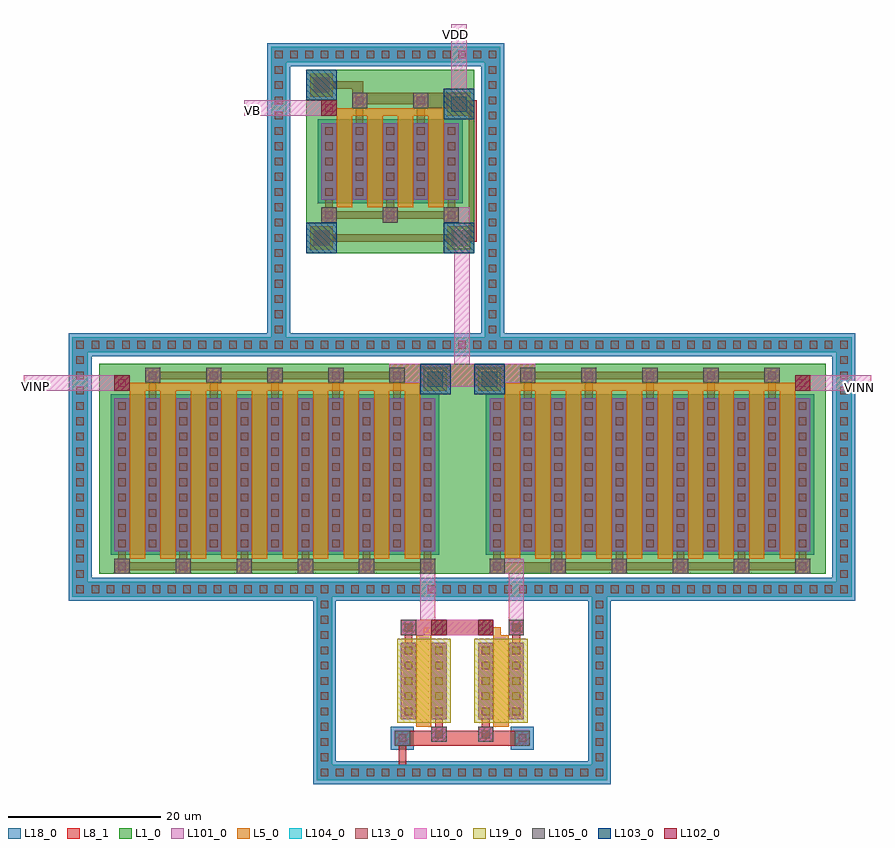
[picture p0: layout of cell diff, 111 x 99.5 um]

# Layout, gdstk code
from math import pi, radians
import gdstk
lib = gdstk.Library(unit=1e-6, precision=1e-07)
def R(c, l, rs):  # rectangles x0, y0, x1, y1
    for r in rs: c.add(gdstk.rectangle(r[:2], r[2:], *l))
def P(c, l, *ps):  # polygons
    for p in ps: c.add(gdstk.Polygon(p, *l))
L1_0 = (1, 0)
L5_0 = (5, 0)
L8_1 = (8, 1)
L10_0 = (10, 0)
L13_0 = (13, 0)
L18_0 = (18, 0)
L19_0 = (19, 0)
L101_0 = (101, 0)
L102_0 = (102, 0)
L103_0 = (103, 0)
L104_0 = (104, 0)
L105_0 = (105, 0)

dcont = lib.new_cell('dcont')
R(dcont, L8_1, [(-1,-1,1,1)])
R(dcont, L13_0, [(-0.5,-0.5,0.5,0.5)])
R(dcont, L101_0, [(-1,-1,1,1)])

via = lib.new_cell('Via')
R(via, L8_1, [(-1,-1,1,1)])
R(via, L10_0, [(-1,-1,1,1)])
R(via, L13_0, [(-0.5,-0.5,0.5,0.5)])
R(via, L105_0, [(-1,-1,1,1)])

dcont1 = lib.new_cell('dcont1')
R(dcont1, L8_1, [(-1,-1,1,1)])
R(dcont1, L13_0, [(-0.5,-0.5,0.5,0.5)])
R(dcont1, L101_0, [(-1,-1,1,1)])

nsubcont = lib.new_cell('nsubcont')
R(nsubcont, L1_0, [(-2,-2,2,2)])
R(nsubcont, L19_0, [(-1.5,-1.5,1.5,1.5)])
R(nsubcont, L103_0, [(-2,-2,2,2)])
nsubcont.add(gdstk.Reference(dcont1, (0,0)))

pch_2 = lib.new_cell('Pch$2')
R(pch_2, L1_0, [(-2,-1.5,20,16)])
R(pch_2, L5_0, [(0,0,2,2)])
R(pch_2, L8_1, [(0,0,2,2)])
P(pch_2, L8_1, [(4.5,-0.5),(4.5,3),(4,3),(4,13),(6,13),(6,3),(5.5,3),(5.5,0.5),(12.5,0.5),(12.5,3),(12,3),(12,13),(14,13),(14,3),(13.5,3),(13.5,-0.5)],
  [(0,3),(0,13),(0.5,13),(0.5,15.5),(17.5,15.5),(17.5,13),(18,13),(18,3),(16,3),(16,13),(16.5,13),(16.5,14.5),(9.5,14.5),(9.5,13),(10,13),(10,3),(8,3),(8,13),(8.5,13),(8.5,14.5),(1.5,14.5),(1.5,13),(2,13),(2,3)])
R(pch_2, L13_0, [(0.5,0.5,1.5,1.5)])
R(pch_2, L18_0, [(-0.5,2.5,18.5,13.5)])
R(pch_2, L102_0, [(0,0,2,2)])
pch_2.add(gdstk.FlexPath([(3,3),(3,13)], 2, ends="extended", simple_path=True, layer=5, datatype=0))  # L5_0
pch_2.add(gdstk.FlexPath([(7,3),(7,13)], 2, ends="extended", simple_path=True, layer=5, datatype=0))  # L5_0
pch_2.add(gdstk.FlexPath([(11,3),(11,13)], 2, ends="extended", simple_path=True, layer=5, datatype=0))  # L5_0
pch_2.add(gdstk.FlexPath([(15,3),(15,13)], 2, ends="extended", simple_path=True, layer=5, datatype=0))  # L5_0
pch_2.add(gdstk.FlexPath([(1,1.5),(2.5,1.5),(2.5,2)], 1, ends="flush", simple_path=True, layer=5, datatype=0))  # L5_0
pch_2.add(gdstk.FlexPath([(2,1.5),(8,1.5)], 1, ends="flush", simple_path=True, layer=5, datatype=0))  # L5_0
pch_2.add(gdstk.FlexPath([(6,1.5),(12,1.5)], 1, ends="flush", simple_path=True, layer=5, datatype=0))  # L5_0
pch_2.add(gdstk.FlexPath([(10,1.5),(16,1.5)], 1, ends="flush", simple_path=True, layer=5, datatype=0))  # L5_0
pch_2.add(gdstk.Reference(dcont, (1,4)))
pch_2.add(gdstk.Reference(dcont, (1,6)))
pch_2.add(gdstk.Reference(dcont, (1,8)))
pch_2.add(gdstk.Reference(dcont, (1,10)))
pch_2.add(gdstk.Reference(dcont, (1,12)))
pch_2.add(gdstk.Reference(dcont, (5,4)))
pch_2.add(gdstk.Reference(dcont, (5,6)))
pch_2.add(gdstk.Reference(dcont, (5,8)))
pch_2.add(gdstk.Reference(dcont, (5,10)))
pch_2.add(gdstk.Reference(dcont, (5,12)))
pch_2.add(gdstk.Reference(dcont, (9,4)))
pch_2.add(gdstk.Reference(dcont, (9,6)))
pch_2.add(gdstk.Reference(dcont, (9,8)))
pch_2.add(gdstk.Reference(dcont, (9,10)))
pch_2.add(gdstk.Reference(dcont, (9,12)))
pch_2.add(gdstk.Reference(dcont, (13,4)))
pch_2.add(gdstk.Reference(dcont, (13,6)))
pch_2.add(gdstk.Reference(dcont, (13,8)))
pch_2.add(gdstk.Reference(dcont, (13,10)))
pch_2.add(gdstk.Reference(dcont, (13,12)))
pch_2.add(gdstk.Reference(dcont, (17,4)))
pch_2.add(gdstk.Reference(dcont, (17,6)))
pch_2.add(gdstk.Reference(dcont, (17,8)))
pch_2.add(gdstk.Reference(dcont, (17,10)))
pch_2.add(gdstk.Reference(dcont, (17,12)))
pch_2.add(gdstk.Reference(via, (1,1)))
pch_2.add(gdstk.Reference(via, (1,15)))
pch_2.add(gdstk.Reference(via, (5,0)))
pch_2.add(gdstk.Reference(via, (9,15)))
pch_2.add(gdstk.Reference(via, (13,0)))
pch_2.add(gdstk.Reference(via, (17,15)))
pch_2.add(gdstk.Reference(nsubcont, (18,0.5)))
pch_2.add(gdstk.Reference(via, (18,0.5)))

pch_6 = lib.new_cell('Pch$6')
R(pch_6, L1_0, [(-2,-1.5,44,26)])
R(pch_6, L5_0, [(0,0,2,2)])
R(pch_6, L8_1, [(0,0,2,2)])
P(pch_6, L8_1, [(4.5,-0.5),(4.5,3),(4,3),(4,23),(6,23),(6,3),(5.5,3),(5.5,0.5),(12.5,0.5),(12.5,3),(12,3),(12,23),(14,23),(14,3),(13.5,3),(13.5,0.5),(20.5,0.5),(20.5,3),(20,3),(20,23),(22,23),(22,3),(21.5,3),(21.5,0.5),(28.5,0.5),(28.5,3),(28,3),(28,23),(30,23),(30,3),(29.5,3),(29.5,0.5),(36.5,0.5),(36.5,3),(36,3),(36,23),(38,23),(38,3),(37.5,3),(37.5,-0.5)],
  [(0,3),(0,23),(0.5,23),(0.5,25.5),(41.5,25.5),(41.5,23),(42,23),(42,3),(40,3),(40,23),(40.5,23),(40.5,24.5),(33.5,24.5),(33.5,23),(34,23),(34,3),(32,3),(32,23),(32.5,23),(32.5,24.5),(25.5,24.5),(25.5,23),(26,23),(26,3),(24,3),(24,23),(24.5,23),(24.5,24.5),(17.5,24.5),(17.5,23),(18,23),(18,3),(16,3),(16,23),(16.5,23),(16.5,24.5),(9.5,24.5),(9.5,23),(10,23),(10,3),(8,3),(8,23),(8.5,23),(8.5,24.5),(1.5,24.5),(1.5,23),(2,23),(2,3)])
R(pch_6, L13_0, [(0.5,0.5,1.5,1.5)])
R(pch_6, L18_0, [(-0.5,2.5,42.5,23.5)])
R(pch_6, L102_0, [(0,0,2,2)])
pch_6.add(gdstk.FlexPath([(3,3),(3,23)], 2, ends="extended", simple_path=True, layer=5, datatype=0))  # L5_0
pch_6.add(gdstk.FlexPath([(7,3),(7,23)], 2, ends="extended", simple_path=True, layer=5, datatype=0))  # L5_0
pch_6.add(gdstk.FlexPath([(11,3),(11,23)], 2, ends="extended", simple_path=True, layer=5, datatype=0))  # L5_0
pch_6.add(gdstk.FlexPath([(15,3),(15,23)], 2, ends="extended", simple_path=True, layer=5, datatype=0))  # L5_0
pch_6.add(gdstk.FlexPath([(19,3),(19,23)], 2, ends="extended", simple_path=True, layer=5, datatype=0))  # L5_0
pch_6.add(gdstk.FlexPath([(23,3),(23,23)], 2, ends="extended", simple_path=True, layer=5, datatype=0))  # L5_0
pch_6.add(gdstk.FlexPath([(27,3),(27,23)], 2, ends="extended", simple_path=True, layer=5, datatype=0))  # L5_0
pch_6.add(gdstk.FlexPath([(31,3),(31,23)], 2, ends="extended", simple_path=True, layer=5, datatype=0))  # L5_0
pch_6.add(gdstk.FlexPath([(35,3),(35,23)], 2, ends="extended", simple_path=True, layer=5, datatype=0))  # L5_0
pch_6.add(gdstk.FlexPath([(39,3),(39,23)], 2, ends="extended", simple_path=True, layer=5, datatype=0))  # L5_0
pch_6.add(gdstk.FlexPath([(1,1.5),(2.5,1.5),(2.5,2)], 1, ends="flush", simple_path=True, layer=5, datatype=0))  # L5_0
pch_6.add(gdstk.FlexPath([(2,1.5),(8,1.5)], 1, ends="flush", simple_path=True, layer=5, datatype=0))  # L5_0
pch_6.add(gdstk.FlexPath([(6,1.5),(12,1.5)], 1, ends="flush", simple_path=True, layer=5, datatype=0))  # L5_0
pch_6.add(gdstk.FlexPath([(10,1.5),(16,1.5)], 1, ends="flush", simple_path=True, layer=5, datatype=0))  # L5_0
pch_6.add(gdstk.FlexPath([(14,1.5),(20,1.5)], 1, ends="flush", simple_path=True, layer=5, datatype=0))  # L5_0
pch_6.add(gdstk.FlexPath([(18,1.5),(24,1.5)], 1, ends="flush", simple_path=True, layer=5, datatype=0))  # L5_0
pch_6.add(gdstk.FlexPath([(22,1.5),(28,1.5)], 1, ends="flush", simple_path=True, layer=5, datatype=0))  # L5_0
pch_6.add(gdstk.FlexPath([(26,1.5),(32,1.5)], 1, ends="flush", simple_path=True, layer=5, datatype=0))  # L5_0
pch_6.add(gdstk.FlexPath([(30,1.5),(36,1.5)], 1, ends="flush", simple_path=True, layer=5, datatype=0))  # L5_0
pch_6.add(gdstk.FlexPath([(34,1.5),(40,1.5)], 1, ends="flush", simple_path=True, layer=5, datatype=0))  # L5_0
pch_6.add(gdstk.Reference(dcont, (1,12)))
pch_6.add(gdstk.Reference(dcont, (5,12)))
pch_6.add(gdstk.Reference(dcont, (9,12)))
pch_6.add(gdstk.Reference(dcont, (13,12)))
pch_6.add(gdstk.Reference(dcont, (17,12)))
pch_6.add(gdstk.Reference(dcont, (21,12)))
pch_6.add(gdstk.Reference(dcont, (25,12)))
pch_6.add(gdstk.Reference(dcont, (29,12)))
pch_6.add(gdstk.Reference(dcont, (33,12)))
pch_6.add(gdstk.Reference(dcont, (37,12)))
pch_6.add(gdstk.Reference(dcont, (41,12)))
pch_6.add(gdstk.Reference(dcont, (25,22)))
pch_6.add(gdstk.Reference(dcont, (25,14)))
pch_6.add(gdstk.Reference(dcont, (29,14)))
pch_6.add(gdstk.Reference(dcont, (29,16)))
pch_6.add(gdstk.Reference(dcont, (29,18)))
pch_6.add(gdstk.Reference(dcont, (29,20)))
pch_6.add(gdstk.Reference(dcont, (29,22)))
pch_6.add(gdstk.Reference(dcont, (25,16)))
pch_6.add(gdstk.Reference(dcont, (33,14)))
pch_6.add(gdstk.Reference(dcont, (33,16)))
pch_6.add(gdstk.Reference(dcont, (33,18)))
pch_6.add(gdstk.Reference(dcont, (33,20)))
pch_6.add(gdstk.Reference(dcont, (33,22)))
pch_6.add(gdstk.Reference(dcont, (25,18)))
pch_6.add(gdstk.Reference(dcont, (37,14)))
pch_6.add(gdstk.Reference(dcont, (37,16)))
pch_6.add(gdstk.Reference(dcont, (37,18)))
pch_6.add(gdstk.Reference(dcont, (37,20)))
pch_6.add(gdstk.Reference(dcont, (37,22)))
pch_6.add(gdstk.Reference(dcont, (25,20)))
pch_6.add(gdstk.Reference(dcont, (41,14)))
pch_6.add(gdstk.Reference(dcont, (41,16)))
pch_6.add(gdstk.Reference(dcont, (41,18)))
pch_6.add(gdstk.Reference(dcont, (41,20)))
pch_6.add(gdstk.Reference(dcont, (41,22)))
pch_6.add(gdstk.Reference(via, (25,25)))
pch_6.add(gdstk.Reference(via, (33,25)))
pch_6.add(gdstk.Reference(via, (41,25)))
pch_6.add(gdstk.Reference(dcont, (5,18)))
pch_6.add(gdstk.Reference(dcont, (5,20)))
pch_6.add(gdstk.Reference(dcont, (5,22)))
pch_6.add(gdstk.Reference(dcont, (1,16)))
pch_6.add(gdstk.Reference(dcont, (9,14)))
pch_6.add(gdstk.Reference(dcont, (9,16)))
pch_6.add(gdstk.Reference(dcont, (9,18)))
pch_6.add(gdstk.Reference(dcont, (9,20)))
pch_6.add(gdstk.Reference(dcont, (9,22)))
pch_6.add(gdstk.Reference(dcont, (1,18)))
pch_6.add(gdstk.Reference(dcont, (13,14)))
pch_6.add(gdstk.Reference(dcont, (13,16)))
pch_6.add(gdstk.Reference(dcont, (13,18)))
pch_6.add(gdstk.Reference(dcont, (13,20)))
pch_6.add(gdstk.Reference(dcont, (13,22)))
pch_6.add(gdstk.Reference(dcont, (1,20)))
pch_6.add(gdstk.Reference(dcont, (17,14)))
pch_6.add(gdstk.Reference(dcont, (17,16)))
pch_6.add(gdstk.Reference(dcont, (17,18)))
pch_6.add(gdstk.Reference(dcont, (17,20)))
pch_6.add(gdstk.Reference(dcont, (17,22)))
pch_6.add(gdstk.Reference(dcont, (1,22)))
pch_6.add(gdstk.Reference(dcont, (21,14)))
pch_6.add(gdstk.Reference(dcont, (21,16)))
pch_6.add(gdstk.Reference(dcont, (21,18)))
pch_6.add(gdstk.Reference(dcont, (21,20)))
pch_6.add(gdstk.Reference(dcont, (21,22)))
pch_6.add(gdstk.Reference(via, (1,25)))
pch_6.add(gdstk.Reference(via, (9,25)))
pch_6.add(gdstk.Reference(via, (17,25)))
pch_6.add(gdstk.Reference(dcont, (1,14)))
pch_6.add(gdstk.Reference(dcont, (5,14)))
pch_6.add(gdstk.Reference(dcont, (5,16)))
pch_6.add(gdstk.Reference(dcont, (1,4)))
pch_6.add(gdstk.Reference(dcont, (1,6)))
pch_6.add(gdstk.Reference(dcont, (21,4)))
pch_6.add(gdstk.Reference(dcont, (21,6)))
pch_6.add(gdstk.Reference(dcont, (21,8)))
pch_6.add(gdstk.Reference(dcont, (21,10)))
pch_6.add(gdstk.Reference(dcont, (13,4)))
pch_6.add(gdstk.Reference(dcont, (13,6)))
pch_6.add(gdstk.Reference(dcont, (13,8)))
pch_6.add(gdstk.Reference(dcont, (13,10)))
pch_6.add(gdstk.Reference(dcont, (5,4)))
pch_6.add(gdstk.Reference(dcont, (5,6)))
pch_6.add(gdstk.Reference(dcont, (9,4)))
pch_6.add(gdstk.Reference(dcont, (9,6)))
pch_6.add(gdstk.Reference(dcont, (9,8)))
pch_6.add(gdstk.Reference(dcont, (9,10)))
pch_6.add(gdstk.Reference(dcont, (17,4)))
pch_6.add(gdstk.Reference(dcont, (17,6)))
pch_6.add(gdstk.Reference(via, (1,1)))
pch_6.add(gdstk.Reference(dcont, (17,8)))
pch_6.add(gdstk.Reference(via, (5,0)))
pch_6.add(gdstk.Reference(dcont, (17,10)))
pch_6.add(gdstk.Reference(via, (13,0)))
pch_6.add(gdstk.Reference(dcont, (5,8)))
pch_6.add(gdstk.Reference(via, (21,0)))
pch_6.add(gdstk.Reference(dcont, (5,10)))
pch_6.add(gdstk.Reference(dcont, (1,8)))
pch_6.add(gdstk.Reference(dcont, (1,10)))
pch_6.add(gdstk.Reference(dcont, (41,6)))
pch_6.add(gdstk.Reference(dcont, (41,8)))
pch_6.add(gdstk.Reference(dcont, (41,10)))
pch_6.add(gdstk.Reference(dcont, (29,8)))
pch_6.add(gdstk.Reference(dcont, (29,10)))
pch_6.add(gdstk.Reference(dcont, (25,8)))
pch_6.add(gdstk.Reference(dcont, (25,10)))
pch_6.add(gdstk.Reference(dcont, (25,4)))
pch_6.add(gdstk.Reference(dcont, (25,6)))
pch_6.add(gdstk.Reference(dcont, (37,4)))
pch_6.add(gdstk.Reference(dcont, (37,6)))
pch_6.add(gdstk.Reference(dcont, (37,8)))
pch_6.add(gdstk.Reference(dcont, (37,10)))
pch_6.add(gdstk.Reference(dcont, (29,4)))
pch_6.add(gdstk.Reference(dcont, (29,6)))
pch_6.add(gdstk.Reference(dcont, (33,4)))
pch_6.add(gdstk.Reference(dcont, (33,6)))
pch_6.add(gdstk.Reference(dcont, (33,8)))
pch_6.add(gdstk.Reference(via, (29,0)))
pch_6.add(gdstk.Reference(dcont, (33,10)))
pch_6.add(gdstk.Reference(via, (37,0)))
pch_6.add(gdstk.Reference(dcont, (41,4)))
pch_6.add(gdstk.Reference(nsubcont, (42,0.5)))
pch_6.add(gdstk.Reference(via, (42,0.5)))

dcont1_1 = lib.new_cell('dcont1$1')
R(dcont1_1, L8_1, [(-1,-1,1,1)])
R(dcont1_1, L13_0, [(-0.5,-0.5,0.5,0.5)])
R(dcont1_1, L101_0, [(-1,-1,1,1)])

psubcont_1 = lib.new_cell('psubcont$1')
R(psubcont_1, L18_0, [(-1.5,-1.5,1.5,1.5)])
R(psubcont_1, L104_0, [(-1,-1,1,1)])
psubcont_1.add(gdstk.Reference(dcont1_1, (0,0)))

dcont1_2 = lib.new_cell('dcont1$2')
R(dcont1_2, L8_1, [(-1,-1,1,1)])
R(dcont1_2, L13_0, [(-0.5,-0.5,0.5,0.5)])
R(dcont1_2, L101_0, [(-1,-1,1,1)])

nsubcont_1 = lib.new_cell('nsubcont$1')
R(nsubcont_1, L1_0, [(-2,-2,2,2)])
R(nsubcont_1, L19_0, [(-1.5,-1.5,1.5,1.5)])
R(nsubcont_1, L103_0, [(-2,-2,2,2)])
nsubcont_1.add(gdstk.Reference(dcont1_2, (0,0)))

via_1 = lib.new_cell('Via$1')
R(via_1, L8_1, [(-1,-1,1,1)])
R(via_1, L10_0, [(-1,-1,1,1)])
R(via_1, L13_0, [(-0.5,-0.5,0.5,0.5)])
R(via_1, L105_0, [(-1,-1,1,1)])

psubcont = lib.new_cell('psubcont')
R(psubcont, L18_0, [(-1.5,-1.5,1.5,1.5)])
R(psubcont, L104_0, [(-1,-1,1,1)])
psubcont.add(gdstk.Reference(dcont1, (0,0)))

nch = lib.new_cell('Nch')
R(nch, L5_0, [(0,14,2,16)])
R(nch, L8_1, [(0,14,2,16)])
P(nch, L8_1, [(0.5,1),(0.5,3),(0,3),(0,13),(2,13),(2,3),(1.5,3),(1.5,1)],
  [(4,3),(4,13),(4.5,13),(4.5,15),(5.5,15),(5.5,13),(6,13),(6,3)])
R(nch, L13_0, [(0.5,14.5,1.5,15.5)])
R(nch, L19_0, [(-0.5,2.5,6.5,13.5)])
R(nch, L102_0, [(0,14,2,16)])
nch.add(gdstk.FlexPath([(3,3),(3,13)], 2, ends="extended", simple_path=True, layer=5, datatype=0))  # L5_0
nch.add(gdstk.FlexPath([(1,14.5),(2.5,14.5),(2.5,14)], 1, ends="flush", simple_path=True, layer=5, datatype=0))  # L5_0
nch.add(gdstk.Reference(dcont, (1,4)))
nch.add(gdstk.Reference(dcont, (1,6)))
nch.add(gdstk.Reference(dcont, (1,8)))
nch.add(gdstk.Reference(dcont, (1,10)))
nch.add(gdstk.Reference(dcont, (1,12)))
nch.add(gdstk.Reference(dcont, (5,4)))
nch.add(gdstk.Reference(dcont, (5,6)))
nch.add(gdstk.Reference(dcont, (5,8)))
nch.add(gdstk.Reference(dcont, (5,10)))
nch.add(gdstk.Reference(dcont, (5,12)))
nch.add(gdstk.Reference(via, (1,15)))
nch.add(gdstk.Reference(via, (1,1)))
nch.add(gdstk.Reference(via, (5,15)))
nch.add(gdstk.Reference(psubcont, (5.8,0.5)))
nch.add(gdstk.Reference(via, (5.8,0.5)))

diff = lib.new_cell('diff')
R(diff, L1_0, [(209.9,23.5,213,51), (191,65.5,213,89.5)])
R(diff, L8_1, [(203.4,15.5,215.5,17.5), (215.5,23.5,223.5,25), (199,86,205,86.5)])
P(diff, L8_1, [(203.1,-2.9),(203.1,1),(202.6,1),(202.6,3),(220.3,3),(220.3,1),(204.1,1),(204.1,-2.9)],
  [(205.9,48),(205.9,48.5),(201.9,48.5),(201.9,51),(221,51),(221,48.5),(217,48.5),(217,48)],
  [(192.5,67),(192.5,68),(212,68),(212,68.5),(212.3,68.5),(212.3,84),(212,84),(212,84.5),(206,84.5),(206,86.5),(212,86.5),(212,85.5),(213.3,85.5),(213.3,67)],
  [(197.5,85),(197.5,86.5),(197,86.5),(197,87),(193,87),(193,88),(198.5,88),(198.5,85)])
R(diff, L10_0, [(205.9,48,217,51), (201.9,48.5,221,51)])
diff.add(gdstk.FlexPath([(206.9,25.5),(206.9,15.5)], 2, ends="flush", simple_path=True, layer=10, datatype=0))  # L10_0
diff.add(gdstk.FlexPath([(203.4,16.5),(215.5,16.5)], 2, ends="flush", simple_path=True, layer=10, datatype=0))  # L10_0
diff.add(gdstk.FlexPath([(215,24.5),(218.5,24.5),(218.5,15.5)], 2, ends="flush", simple_path=True, layer=10, datatype=0))  # L10_0
diff.add(gdstk.FlexPath([(211,84.1),(211,95.5)], 2, ends="flush", simple_path=True, layer=10, datatype=0))  # L10_0
diff.add(gdstk.FlexPath([(195,84.5),(182.9,84.5)], 2, ends="flush", simple_path=True, layer=10, datatype=0))  # L10_0
diff.add(gdstk.FlexPath([(167.9,48.5),(154,48.5)], 2, ends="flush", simple_path=True, layer=10, datatype=0))  # L10_0
diff.add(gdstk.FlexPath([(255,48.5),(265,48.5)], 2, ends="flush", simple_path=True, layer=10, datatype=0))  # L10_0
diff.add(gdstk.FlexPath([(209,70.5),(211.4,70.5),(211.4,48.5)], 2, ends="flush", simple_path=True, layer=10, datatype=0))  # L10_0
diff.add(gdstk.Reference(pch_2, (193,85.5), x_reflection=True))
diff.add(gdstk.Reference(pch_6, (165.9,49.5), x_reflection=True))
diff.add(gdstk.Reference(pch_6, (257,49.5), rotation=pi))
diff.add(gdstk.Reference(psubcont_1, (211.4,53.5)))
diff.add(gdstk.Reference(psubcont_1, (161.4,45.5)))
diff.add(gdstk.Reference(psubcont_1, (161.4,43.5)))
diff.add(gdstk.Reference(psubcont_1, (211.4,21.5)))
diff.add(gdstk.Reference(psubcont_1, (261.4,45.5)))
diff.add(gdstk.Reference(psubcont_1, (261.4,43.5)))
diff.add(gdstk.Reference(psubcont_1, (211.4,-2.5)))
diff.add(gdstk.Reference(psubcont_1, (211.4,91.5)))
diff.add(gdstk.Reference(nsubcont_1, (211,67.5), rotation=pi))
diff.add(gdstk.Reference(via_1, (211,85), rotation=pi))
diff.add(gdstk.Reference(psubcont_1, (231.4,53.5)))
diff.add(gdstk.Reference(psubcont_1, (233.4,53.5)))
diff.add(gdstk.Reference(psubcont_1, (235.4,53.5)))
diff.add(gdstk.Reference(psubcont_1, (237.4,53.5)))
diff.add(gdstk.Reference(psubcont_1, (239.4,53.5)))
diff.add(gdstk.Reference(psubcont_1, (241.4,53.5)))
diff.add(gdstk.Reference(psubcont_1, (243.4,53.5)))
diff.add(gdstk.Reference(psubcont_1, (245.4,53.5)))
diff.add(gdstk.Reference(psubcont_1, (247.4,53.5)))
diff.add(gdstk.Reference(psubcont_1, (249.4,53.5)))
diff.add(gdstk.Reference(psubcont_1, (251.4,53.5)))
diff.add(gdstk.Reference(psubcont_1, (253.4,53.5)))
diff.add(gdstk.Reference(psubcont_1, (255.4,53.5)))
diff.add(gdstk.Reference(psubcont_1, (257.4,53.5)))
diff.add(gdstk.Reference(psubcont_1, (259.4,53.5)))
diff.add(gdstk.Reference(psubcont_1, (213.4,53.5)))
diff.add(gdstk.Reference(psubcont_1, (215.4,53.5)))
diff.add(gdstk.Reference(psubcont_1, (217.4,53.5)))
diff.add(gdstk.Reference(psubcont_1, (261.4,53.5)))
diff.add(gdstk.Reference(psubcont_1, (261.4,51.5)))
diff.add(gdstk.Reference(psubcont_1, (261.4,49.5)))
diff.add(gdstk.Reference(psubcont_1, (261.4,47.5)))
diff.add(gdstk.Reference(psubcont_1, (219.4,53.5)))
diff.add(gdstk.Reference(psubcont_1, (221.4,53.5)))
diff.add(gdstk.Reference(psubcont_1, (223.4,53.5)))
diff.add(gdstk.Reference(psubcont_1, (225.4,53.5)))
diff.add(gdstk.Reference(psubcont_1, (213.4,91.5)))
diff.add(gdstk.Reference(psubcont_1, (215.4,91.5)))
diff.add(gdstk.Reference(psubcont_1, (215.4,89.5)))
diff.add(gdstk.Reference(psubcont_1, (215.4,87.5)))
diff.add(gdstk.Reference(psubcont_1, (215.4,85.5)))
diff.add(gdstk.Reference(psubcont_1, (215.4,83.5)))
diff.add(gdstk.Reference(psubcont_1, (215.4,81.5)))
diff.add(gdstk.Reference(psubcont_1, (215.4,79.5)))
diff.add(gdstk.Reference(psubcont_1, (215.4,77.5)))
diff.add(gdstk.Reference(psubcont_1, (215.4,75.5)))
diff.add(gdstk.Reference(psubcont_1, (215.4,73.5)))
diff.add(gdstk.Reference(psubcont_1, (215.4,71.5)))
diff.add(gdstk.Reference(psubcont_1, (215.4,69.5)))
diff.add(gdstk.Reference(psubcont_1, (215.4,67.5)))
diff.add(gdstk.Reference(psubcont_1, (215.4,65.5)))
diff.add(gdstk.Reference(psubcont_1, (215.4,63.5)))
diff.add(gdstk.Reference(psubcont_1, (215.4,61.5)))
diff.add(gdstk.Reference(psubcont_1, (215.4,59.5)))
diff.add(gdstk.Reference(psubcont_1, (215.4,57.5)))
diff.add(gdstk.Reference(psubcont_1, (215.4,55.5)))
diff.add(gdstk.Reference(psubcont_1, (215.4,53.5)))
diff.add(gdstk.Reference(psubcont_1, (227.4,53.5)))
diff.add(gdstk.Reference(psubcont_1, (229.4,53.5)))
diff.add(gdstk.Reference(psubcont_1, (163.4,53.5)))
diff.add(gdstk.Reference(psubcont_1, (161.4,53.5)))
diff.add(gdstk.Reference(psubcont_1, (187.4,53.5)))
diff.add(gdstk.Reference(psubcont_1, (189.4,53.5)))
diff.add(gdstk.Reference(psubcont_1, (189.4,91.5)))
diff.add(gdstk.Reference(psubcont_1, (187.4,55.5)))
diff.add(gdstk.Reference(psubcont_1, (191.4,91.5)))
diff.add(gdstk.Reference(psubcont_1, (193.4,91.5)))
diff.add(gdstk.Reference(psubcont_1, (195.4,91.5)))
diff.add(gdstk.Reference(psubcont_1, (197.4,91.5)))
diff.add(gdstk.Reference(psubcont_1, (199.4,91.5)))
diff.add(gdstk.Reference(psubcont_1, (201.4,91.5)))
diff.add(gdstk.Reference(psubcont_1, (203.4,91.5)))
diff.add(gdstk.Reference(psubcont_1, (205.4,91.5)))
diff.add(gdstk.Reference(psubcont_1, (207.4,91.5)))
diff.add(gdstk.Reference(psubcont_1, (209.4,91.5)))
diff.add(gdstk.Reference(psubcont_1, (161.4,51.5)))
diff.add(gdstk.Reference(psubcont_1, (161.4,49.5)))
diff.add(gdstk.Reference(psubcont_1, (161.4,47.5)))
diff.add(gdstk.Reference(psubcont_1, (201.4,53.5)))
diff.add(gdstk.Reference(psubcont_1, (203.4,53.5)))
diff.add(gdstk.Reference(psubcont_1, (205.4,53.5)))
diff.add(gdstk.Reference(psubcont_1, (207.4,53.5)))
diff.add(gdstk.Reference(psubcont_1, (209.4,53.5)))
diff.add(gdstk.Reference(psubcont_1, (191.4,53.5)))
diff.add(gdstk.Reference(psubcont_1, (193.4,53.5)))
diff.add(gdstk.Reference(psubcont_1, (195.4,53.5)))
diff.add(gdstk.Reference(psubcont_1, (197.4,53.5)))
diff.add(gdstk.Reference(psubcont_1, (199.4,53.5)))
diff.add(gdstk.Reference(psubcont_1, (185.4,53.5)))
diff.add(gdstk.Reference(psubcont_1, (183.4,53.5)))
diff.add(gdstk.Reference(psubcont_1, (181.4,53.5)))
diff.add(gdstk.Reference(psubcont_1, (179.4,53.5)))
diff.add(gdstk.Reference(psubcont_1, (177.4,53.5)))
diff.add(gdstk.Reference(psubcont_1, (175.4,53.5)))
diff.add(gdstk.Reference(psubcont_1, (173.4,53.5)))
diff.add(gdstk.Reference(psubcont_1, (171.4,53.5)))
diff.add(gdstk.Reference(psubcont_1, (169.4,53.5)))
diff.add(gdstk.Reference(psubcont_1, (187.4,91.5)))
diff.add(gdstk.Reference(psubcont_1, (187.4,89.5)))
diff.add(gdstk.Reference(psubcont_1, (187.4,87.5)))
diff.add(gdstk.Reference(psubcont_1, (187.4,85.5)))
diff.add(gdstk.Reference(psubcont_1, (187.4,83.5)))
diff.add(gdstk.Reference(psubcont_1, (187.4,81.5)))
diff.add(gdstk.Reference(psubcont_1, (187.4,79.5)))
diff.add(gdstk.Reference(psubcont_1, (187.4,77.5)))
diff.add(gdstk.Reference(psubcont_1, (187.4,75.5)))
diff.add(gdstk.Reference(psubcont_1, (187.4,73.5)))
diff.add(gdstk.Reference(psubcont_1, (187.4,71.5)))
diff.add(gdstk.Reference(psubcont_1, (187.4,69.5)))
diff.add(gdstk.Reference(psubcont_1, (187.4,67.5)))
diff.add(gdstk.Reference(psubcont_1, (187.4,65.5)))
diff.add(gdstk.Reference(psubcont_1, (187.4,63.5)))
diff.add(gdstk.Reference(psubcont_1, (187.4,61.5)))
diff.add(gdstk.Reference(psubcont_1, (187.4,59.5)))
diff.add(gdstk.Reference(psubcont_1, (187.4,57.5)))
diff.add(gdstk.Reference(nsubcont_1, (193,67.5), rotation=pi))
diff.add(gdstk.Reference(nsubcont_1, (193,87.5), rotation=pi))
diff.add(gdstk.Reference(psubcont_1, (167.4,53.5)))
diff.add(gdstk.Reference(psubcont_1, (165.4,53.5)))
diff.add(gdstk.Reference(psubcont_1, (185.4,21.5)))
diff.add(gdstk.Reference(psubcont_1, (187.4,21.5)))
diff.add(gdstk.Reference(psubcont_1, (189.4,21.5)))
diff.add(gdstk.Reference(psubcont_1, (191.4,21.5)))
diff.add(gdstk.Reference(psubcont_1, (193.4,21.5)))
diff.add(gdstk.Reference(psubcont_1, (195.4,21.5)))
diff.add(gdstk.Reference(psubcont_1, (197.4,21.5)))
diff.add(gdstk.Reference(psubcont_1, (199.4,21.5)))
diff.add(gdstk.Reference(psubcont_1, (201.4,21.5)))
diff.add(gdstk.Reference(psubcont_1, (203.4,21.5)))
diff.add(gdstk.Reference(psubcont_1, (205.4,21.5)))
diff.add(gdstk.Reference(psubcont_1, (207.4,21.5)))
diff.add(gdstk.Reference(psubcont_1, (209.4,21.5)))
diff.add(gdstk.Reference(nch, (209.4,1.5), rotation=pi, x_reflection=True))
diff.add(gdstk.Reference(psubcont_1, (161.4,41.5)))
diff.add(gdstk.Reference(psubcont_1, (161.4,39.5)))
diff.add(gdstk.Reference(psubcont_1, (161.4,37.5)))
diff.add(gdstk.Reference(psubcont_1, (161.4,35.5)))
diff.add(gdstk.Reference(psubcont_1, (161.4,33.5)))
diff.add(gdstk.Reference(psubcont_1, (161.4,31.5)))
diff.add(gdstk.Reference(psubcont_1, (193.4,19.5)))
diff.add(gdstk.Reference(psubcont_1, (193.4,17.5)))
diff.add(gdstk.Reference(psubcont_1, (193.4,15.5)))
diff.add(gdstk.Reference(psubcont_1, (193.4,13.5)))
diff.add(gdstk.Reference(psubcont_1, (193.4,11.5)))
diff.add(gdstk.Reference(psubcont_1, (193.4,9.5)))
diff.add(gdstk.Reference(psubcont_1, (193.4,7.5)))
diff.add(gdstk.Reference(psubcont_1, (193.4,5.5)))
diff.add(gdstk.Reference(psubcont_1, (193.4,3.5)))
diff.add(gdstk.Reference(psubcont_1, (193.4,1.5)))
diff.add(gdstk.Reference(psubcont_1, (193.4,-0.5)))
diff.add(gdstk.Reference(psubcont_1, (193.4,-2.5)))
diff.add(gdstk.Reference(psubcont_1, (195.4,-2.5)))
diff.add(gdstk.Reference(psubcont_1, (197.4,-2.5)))
diff.add(gdstk.Reference(psubcont_1, (199.4,-2.5)))
diff.add(gdstk.Reference(psubcont_1, (201.4,-2.5)))
diff.add(gdstk.Reference(psubcont_1, (203.4,-2.5)))
diff.add(gdstk.Reference(psubcont_1, (205.4,-2.5)))
diff.add(gdstk.Reference(psubcont_1, (207.4,-2.5)))
diff.add(gdstk.Reference(psubcont_1, (209.4,-2.5)))
diff.add(gdstk.Reference(psubcont_1, (161.4,29.5)))
diff.add(gdstk.Reference(psubcont_1, (161.4,27.5)))
diff.add(gdstk.Reference(psubcont_1, (161.4,25.5)))
diff.add(gdstk.Reference(psubcont_1, (161.4,23.5)))
diff.add(gdstk.Reference(psubcont_1, (161.4,21.5)))
diff.add(gdstk.Reference(psubcont_1, (163.4,21.5)))
diff.add(gdstk.Reference(psubcont_1, (165.4,21.5)))
diff.add(gdstk.Reference(psubcont_1, (167.4,21.5)))
diff.add(gdstk.Reference(psubcont_1, (169.4,21.5)))
diff.add(gdstk.Reference(psubcont_1, (171.4,21.5)))
diff.add(gdstk.Reference(psubcont_1, (173.4,21.5)))
diff.add(gdstk.Reference(psubcont_1, (175.4,21.5)))
diff.add(gdstk.Reference(psubcont_1, (177.4,21.5)))
diff.add(gdstk.Reference(psubcont_1, (179.4,21.5)))
diff.add(gdstk.Reference(psubcont_1, (181.4,21.5)))
diff.add(gdstk.Reference(psubcont_1, (183.4,21.5)))
diff.add(gdstk.Reference(psubcont_1, (225.4,21.5)))
diff.add(gdstk.Reference(psubcont_1, (227.4,21.5)))
diff.add(gdstk.Reference(psubcont_1, (229.4,21.5)))
diff.add(gdstk.Reference(psubcont_1, (231.4,21.5)))
diff.add(gdstk.Reference(psubcont_1, (233.4,21.5)))
diff.add(gdstk.Reference(psubcont_1, (235.4,21.5)))
diff.add(gdstk.Reference(psubcont_1, (237.4,21.5)))
diff.add(gdstk.Reference(psubcont_1, (239.4,21.5)))
diff.add(gdstk.Reference(psubcont_1, (241.4,21.5)))
diff.add(gdstk.Reference(psubcont_1, (243.4,21.5)))
diff.add(gdstk.Reference(psubcont_1, (245.4,21.5)))
diff.add(gdstk.Reference(psubcont_1, (247.4,21.5)))
diff.add(gdstk.Reference(psubcont_1, (249.4,21.5)))
diff.add(gdstk.Reference(psubcont_1, (251.4,21.5)))
diff.add(gdstk.Reference(psubcont_1, (253.4,21.5)))
diff.add(gdstk.Reference(psubcont_1, (255.4,21.5)))
diff.add(gdstk.Reference(psubcont_1, (257.4,21.5)))
diff.add(gdstk.Reference(nch, (213.5,1.5)))
diff.add(gdstk.Reference(psubcont_1, (259.4,21.5)))
diff.add(gdstk.Reference(psubcont_1, (261.4,21.5)))
diff.add(gdstk.Reference(psubcont_1, (213.4,-2.5)))
diff.add(gdstk.Reference(psubcont_1, (215.4,-2.5)))
diff.add(gdstk.Reference(psubcont_1, (217.4,-2.5)))
diff.add(gdstk.Reference(psubcont_1, (219.4,-2.5)))
diff.add(gdstk.Reference(psubcont_1, (221.4,-2.5)))
diff.add(gdstk.Reference(psubcont_1, (223.4,-2.5)))
diff.add(gdstk.Reference(psubcont_1, (225.4,-2.5)))
diff.add(gdstk.Reference(psubcont_1, (227.4,-2.5)))
diff.add(gdstk.Reference(psubcont_1, (229.4,-2.5)))
diff.add(gdstk.Reference(psubcont_1, (229.4,19.5)))
diff.add(gdstk.Reference(psubcont_1, (229.4,17.5)))
diff.add(gdstk.Reference(psubcont_1, (229.4,15.5)))
diff.add(gdstk.Reference(psubcont_1, (229.4,13.5)))
diff.add(gdstk.Reference(psubcont_1, (229.4,11.5)))
diff.add(gdstk.Reference(psubcont_1, (261.4,23.5)))
diff.add(gdstk.Reference(psubcont_1, (261.4,21.5)))
diff.add(gdstk.Reference(psubcont_1, (229.4,9.5)))
diff.add(gdstk.Reference(psubcont_1, (229.4,7.5)))
diff.add(gdstk.Reference(psubcont_1, (229.4,5.5)))
diff.add(gdstk.Reference(psubcont_1, (229.4,3.5)))
diff.add(gdstk.Reference(psubcont_1, (229.4,1.5)))
diff.add(gdstk.Reference(psubcont_1, (229.4,-0.5)))
diff.add(gdstk.Reference(psubcont_1, (229.4,-2.5)))
diff.add(gdstk.Reference(psubcont_1, (213.4,21.5)))
diff.add(gdstk.Reference(psubcont_1, (215.4,21.5)))
diff.add(gdstk.Reference(psubcont_1, (217.4,21.5)))
diff.add(gdstk.Reference(psubcont_1, (219.4,21.5)))
diff.add(gdstk.Reference(psubcont_1, (221.4,21.5)))
diff.add(gdstk.Reference(psubcont_1, (261.4,41.5)))
diff.add(gdstk.Reference(psubcont_1, (261.4,39.5)))
diff.add(gdstk.Reference(psubcont_1, (261.4,37.5)))
diff.add(gdstk.Reference(psubcont_1, (261.4,35.5)))
diff.add(gdstk.Reference(psubcont_1, (261.4,33.5)))
diff.add(gdstk.Reference(psubcont_1, (261.4,31.5)))
diff.add(gdstk.Reference(psubcont_1, (261.4,29.5)))
diff.add(gdstk.Reference(psubcont_1, (261.4,27.5)))
diff.add(gdstk.Reference(psubcont_1, (261.4,25.5)))
diff.add(gdstk.Reference(psubcont_1, (223.4,21.5)))
diff.add(gdstk.Label('VDD', (210.5,94.1), layer=10, texttype=0))
diff.add(gdstk.Label('VB', (184,84.2), layer=10, texttype=0))
diff.add(gdstk.Label('VINP', (155.5,48), layer=10, texttype=0))
diff.add(gdstk.Label('VINN', (263.4,47.9), layer=10, texttype=0))

lib.write_gds('diff.gds')
